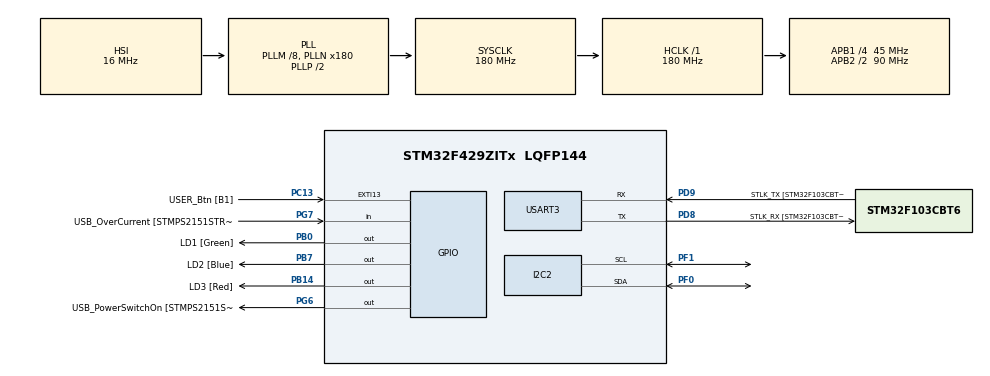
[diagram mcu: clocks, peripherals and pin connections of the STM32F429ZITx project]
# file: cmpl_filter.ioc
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FREERTOS.INCLUDE_pcTaskGetTaskName=1
FREERTOS.INCLUDE_uxTaskGetStackHighWaterMark=1
FREERTOS.INCLUDE_uxTaskGetStackHighWaterMark2=1
FREERTOS.INCLUDE_vTaskDelayUntil=1
FREERTOS.INCLUDE_vTaskDelete=0
FREERTOS.INCLUDE_xEventGroupSetBitFromISR=1
FREERTOS.INCLUDE_xQueueGetMutexHolder=0
FREERTOS.INCLUDE_xTaskGetCurrentTaskHandle=1
FREERTOS.INCLUDE_xTimerPendFunctionCall=1
FREERTOS.MEMORY_ALLOCATION=1
FREERTOS.Tasks01=defaultTask,0,128,StartDefaultTask,Default,NULL,Static,defaultTaskBuffer,defaultTaskControlBlock
FREERTOS.configENABLE_FPU=1
FREERTOS.configGENERATE_RUN_TIME_STATS=1
FREERTOS.configMAX_PRIORITIES=10
FREERTOS.configQUEUE_REGISTRY_SIZE=16
FREERTOS.configRECORD_STACK_HIGH_ADDRESS=1
FREERTOS.configUSE_APPLICATION_TASK_TAG=1
FREERTOS.configUSE_COUNTING_SEMAPHORES=1
FREERTOS.configUSE_NEWLIB_REENTRANT=1
FREERTOS.configUSE_TIMERS=1
FREERTOS.configUSE_TRACE_FACILITY=1
FREERTOS.copyHeapFile=1
Mcu.Family=STM32F4
Mcu.Name=STM32F429ZITx
Mcu.Package=LQFP144
NVIC.I2C2_ER_IRQn=true\:5\:0\:false\:false\:true\:true\:true\:true\:true
NVIC.I2C2_EV_IRQn=true\:5\:0\:false\:false\:true\:true\:true\:true\:true
NVIC.PriorityGroup=NVIC_PRIORITYGROUP_4
NVIC.TIM6_DAC_IRQn=true\:15\:0\:false\:false\:true\:false\:false\:true\:true
NVIC.TimeBase=TIM6_DAC_IRQn
NVIC.TimeBaseIP=TIM6
PA1.GPIO_Label=RMII_REF_CLK [LAN8742A-CZ-TR_REFCLK0]
PA1.Signal=ETH_REF_CLK
PA10.GPIO_Label=USB_ID
PA10.Signal=USB_OTG_FS_ID
PA11.GPIO_Label=USB_DM
PA11.Signal=USB_OTG_FS_DM
PA12.GPIO_Label=USB_DP
PA12.Signal=USB_OTG_FS_DP
PA13.GPIO_Label=TMS
PA13.Signal=SYS_JTMS-SWDIO
PA14.GPIO_Label=TCK
PA14.Signal=SYS_JTCK-SWCLK
PA2.GPIO_Label=RMII_MDIO [LAN8742A-CZ-TR_MDIO]
PA2.Signal=ETH_MDIO
PA7.GPIO_Label=RMII_CRS_DV [LAN8742A-CZ-TR_CRS_DV]
PA7.Signal=ETH_CRS_DV
PA8.GPIO_Label=USB_SOF [TP1]
PA8.Signal=USB_OTG_FS_SOF
PA9.GPIO_Label=USB_VBUS
PA9.Signal=USB_OTG_FS_VBUS
PB0.GPIO_Label=LD1 [Green]
PB0.Signal=GPIO_Output
PB13.GPIO_Label=RMII_TXD1 [LAN8742A-CZ-TR_TXD1]
PB13.Signal=ETH_TXD1
PB14.GPIO_Label=LD3 [Red]
PB14.Signal=GPIO_Output
PB7.GPIO_Label=LD2 [Blue]
PB7.Signal=GPIO_Output
PC1.GPIO_Label=RMII_MDC [LAN8742A-CZ-TR_MDC]
PC1.Signal=ETH_MDC
PC13.GPIO_Label=USER_Btn [B1]
PC13.Signal=GPXTI13
PC14/OSC32_IN.Signal=RCC_OSC32_IN
PC15/OSC32_OUT.Signal=RCC_OSC32_OUT
PC4.GPIO_Label=RMII_RXD0 [LAN8742A-CZ-TR_RXD0]
PC4.Signal=ETH_RXD0
PC5.GPIO_Label=RMII_RXD1 [LAN8742A-CZ-TR_RXD1]
PC5.Signal=ETH_RXD1
PD8.GPIO_Label=STLK_RX [STM32F103CBT6_PA3]
PD8.Mode=Asynchronous
PD8.Signal=USART3_TX
PD9.GPIO_Label=STLK_TX [STM32F103CBT6_PA2]
PD9.Mode=Asynchronous
PD9.Signal=USART3_RX
PF0.Mode=I2C
PF0.Signal=I2C2_SDA
PF1.Mode=I2C
PF1.Signal=I2C2_SCL
PG11.GPIO_Label=RMII_TX_EN [LAN8742A-CZ-TR_TXEN]
PG11.Signal=ETH_TX_EN
PG13.GPIO_Label=RMII_TXD0 [LAN8742A-CZ-TR_TXD0]
PG13.Signal=ETH_TXD0
PG6.GPIO_Label=USB_PowerSwitchOn [STMPS2151STR_EN]
PG6.Signal=GPIO_Output
PG7.GPIO_Label=USB_OverCurrent [STMPS2151STR_FAULT]
PG7.Signal=GPIO_Input
PH0/OSC_IN.GPIO_Label=MCO [STM32F103CBT6_PA8]
PH0/OSC_IN.Signal=RCC_OSC_IN
PH1/OSC_OUT.Signal=RCC_OSC_OUT
ProjectManager.HeapSize=0x200
ProjectManager.StackSize=0x400
ProjectManager.TargetToolchain=STM32CubeIDE
RCC.48MHZClocksFreq_Value=90000000
RCC.AHBFreq_Value=180000000
RCC.APB1CLKDivider=RCC_HCLK_DIV4
RCC.APB1Freq_Value=45000000
RCC.APB1TimFreq_Value=90000000
RCC.APB2CLKDivider=RCC_HCLK_DIV2
RCC.APB2Freq_Value=90000000
RCC.APB2TimFreq_Value=180000000
RCC.CortexFreq_Value=180000000
RCC.HCLKFreq_Value=180000000
RCC.HSE_VALUE=8000000
RCC.HSI_VALUE=16000000
RCC.LSE_VALUE=32768
RCC.PLLM=8
RCC.PLLMUL=RCC_PLL_MUL9
RCC.PLLN=180
RCC.PRESCALERUSB=RCC_USBCLKSOURCE_PLL_DIV1_5
RCC.SYSCLKFreq_VALUE=180000000
RCC.SYSCLKSource=RCC_SYSCLKSOURCE_PLLCLK
RCC.SYSCLKSourceVirtual=RCC_SYSCLKSOURCE_PLLCLK
RCC.USBFreq_Value=48000000
RCC.VCOOutputFreq_Value=360000000
USART3.VirtualMode=VM_ASYNC
VP_FREERTOS_VS_CMSIS_V1.Mode=CMSIS_V1
VP_SYS_VS_tim6.Mode=TIM6
board=NUCLEO-F429ZI

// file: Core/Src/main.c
/* USER CODE BEGIN Header */
/**
  ******************************************************************************
  * @file           : main.c
  * @brief          : Main program body
  ******************************************************************************
  * @attention
  *
  * Copyright (c) 2024 STMicroelectronics.
  * All rights reserved.
  *
  * This software is licensed under terms that can be found in the LICENSE file
  * in the root directory of this software component.
  * If no LICENSE file comes with this software, it is provided AS-IS.
  *
  ******************************************************************************
  */
/* USER CODE END Header */
#include "main.h"
#include "cmsis_os.h"
#include "i2c.h"
#include "usart.h"
#include "gpio.h"

/* USER CODE BEGIN Includes */
#include <string.h>
#include <stdint.h>
#include <math.h>

#include "app.h"
#include <printf/printf.h>
/* USER CODE END Includes */

void SystemClock_Config(void);
void MX_FREERTOS_Init(void);

/* USER CODE BEGIN 0 */

// This allows us to use printf() to send messages via the SWD interface
// Reference:
// http://www.embedded-communication.com/en/misc/english-printf-using-st-link-debug-interface-swd-itm-view/
int __io_putchar(int ch) {
    // Catch usage of stdlib printf() in debugger
    Error_Handler();
    //ITM_SendChar(ch);
    return ch;
}

// Needed for the tiny printf() by Marco Paland
// See: printf-6.0.0/src/printf.h
void putchar_(char c)
{
    ITM_SendChar(c);
}

#if 1
// To help ensure that no dynamic memory allocation occurs in this
// application, define dummy implementations of malloc() and free().
// If another definition of these functions somehow appears somewhere,
// the linker should complain.
// These functions also halt the system when called, to assist in
// debugging and finding the point where they were called.
void *malloc(size_t size)
{
	(void)size;
    Error_Handler();
    return NULL;
}

void free(void *ptr)
{
	(void)ptr;
    Error_Handler();
}

void *_sbrk(ptrdiff_t incr)
{
	(void)incr;
    Error_Handler();
    return NULL;
}
#endif

/* USER CODE END 0 */

int main(void)
{

  /* MCU Configuration--------------------------------------------------------*/

  /* Reset of all peripherals, Initializes the Flash interface and the Systick. */
  HAL_Init();

  /* Configure the system clock */
  SystemClock_Config();

  /* Initialize all configured peripherals */
  MX_GPIO_Init();
  MX_I2C2_Init();
  MX_USART3_UART_Init();
  /* USER CODE BEGIN 2 */

  App_Start();	 // Create the FreeRTOS objects
  printf_("Calling FreeRTOS scheduler\n");

  /* USER CODE END 2 */

  /* Call init function for freertos objects (in freertos.c) */
  MX_FREERTOS_Init();

  /* Start scheduler */
  osKernelStart();
  /* We should never get here as control is now taken by the scheduler */
  /* Infinite loop */
  while (1)
  {

  }
}

void SystemClock_Config(void)
{
  RCC_OscInitTypeDef RCC_OscInitStruct = {0};
  RCC_ClkInitTypeDef RCC_ClkInitStruct = {0};

  /** Configure the main internal regulator output voltage
  */
  __HAL_RCC_PWR_CLK_ENABLE();
  __HAL_PWR_VOLTAGESCALING_CONFIG(PWR_REGULATOR_VOLTAGE_SCALE1);

  /** Initializes the RCC Oscillators according to the specified parameters
  * in the RCC_OscInitTypeDef structure.
  */
  RCC_OscInitStruct.OscillatorType = RCC_OSCILLATORTYPE_HSI;
  RCC_OscInitStruct.HSIState = RCC_HSI_ON;
  RCC_OscInitStruct.HSICalibrationValue = RCC_HSICALIBRATION_DEFAULT;
  RCC_OscInitStruct.PLL.PLLState = RCC_PLL_ON;
  RCC_OscInitStruct.PLL.PLLSource = RCC_PLLSOURCE_HSI;
  RCC_OscInitStruct.PLL.PLLM = 8;
  RCC_OscInitStruct.PLL.PLLN = 180;
  RCC_OscInitStruct.PLL.PLLP = RCC_PLLP_DIV2;
  RCC_OscInitStruct.PLL.PLLQ = 4;
  if (HAL_RCC_OscConfig(&RCC_OscInitStruct) != HAL_OK)
  {
    Error_Handler();
  }

  /** Activate the Over-Drive mode
  */
  if (HAL_PWREx_EnableOverDrive() != HAL_OK)
  {
    Error_Handler();
  }

  /** Initializes the CPU, AHB and APB buses clocks
  */
  RCC_ClkInitStruct.ClockType = RCC_CLOCKTYPE_HCLK|RCC_CLOCKTYPE_SYSCLK
                              |RCC_CLOCKTYPE_PCLK1|RCC_CLOCKTYPE_PCLK2;
  RCC_ClkInitStruct.SYSCLKSource = RCC_SYSCLKSOURCE_PLLCLK;
  RCC_ClkInitStruct.AHBCLKDivider = RCC_SYSCLK_DIV1;
  RCC_ClkInitStruct.APB1CLKDivider = RCC_HCLK_DIV4;
  RCC_ClkInitStruct.APB2CLKDivider = RCC_HCLK_DIV2;

  if (HAL_RCC_ClockConfig(&RCC_ClkInitStruct, FLASH_LATENCY_5) != HAL_OK)
  {
    Error_Handler();
  }
}

void HAL_TIM_PeriodElapsedCallback(TIM_HandleTypeDef *htim)
{
  if (htim->Instance == TIM6) {
    HAL_IncTick();
  }
}

void Error_Handler(void)
{
  __disable_irq();
  while (1)
  {
  }
}

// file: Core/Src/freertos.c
/* USER CODE BEGIN Header */
/**
  ******************************************************************************
  * File Name          : freertos.c
  * Description        : Code for freertos applications
  ******************************************************************************
  * @attention
  *
  * Copyright (c) 2024 STMicroelectronics.
  * All rights reserved.
  *
  * This software is licensed under terms that can be found in the LICENSE file
  * in the root directory of this software component.
  * If no LICENSE file comes with this software, it is provided AS-IS.
  *
  ******************************************************************************
  */
/* USER CODE END Header */

#include "FreeRTOS.h"
#include "task.h"
#include "main.h"
#include "cmsis_os.h"

osThreadId defaultTaskHandle;
uint32_t defaultTaskBuffer[ 128 ];
osStaticThreadDef_t defaultTaskControlBlock;

void StartDefaultTask(void const * argument);

void MX_FREERTOS_Init(void); /* (MISRA C 2004 rule 8.1) */

/* GetIdleTaskMemory prototype (linked to static allocation support) */
void vApplicationGetIdleTaskMemory( StaticTask_t **ppxIdleTaskTCBBuffer, StackType_t **ppxIdleTaskStackBuffer, uint32_t *pulIdleTaskStackSize );

/* GetTimerTaskMemory prototype (linked to static allocation support) */
void vApplicationGetTimerTaskMemory( StaticTask_t **ppxTimerTaskTCBBuffer, StackType_t **ppxTimerTaskStackBuffer, uint32_t *pulTimerTaskStackSize );

/* Hook prototypes */
void configureTimerForRunTimeStats(void);
unsigned long getRunTimeCounterValue(void);

/* USER CODE BEGIN 1 */
/* Functions needed when configGENERATE_RUN_TIME_STATS is on */
__weak void configureTimerForRunTimeStats(void)
{

}

__weak unsigned long getRunTimeCounterValue(void)
{
return 0;
}
/* USER CODE END 1 */

/* USER CODE BEGIN GET_IDLE_TASK_MEMORY */
static StaticTask_t xIdleTaskTCBBuffer;
static StackType_t xIdleStack[configMINIMAL_STACK_SIZE];

void vApplicationGetIdleTaskMemory( StaticTask_t **ppxIdleTaskTCBBuffer, StackType_t **ppxIdleTaskStackBuffer, uint32_t *pulIdleTaskStackSize )
{
  *ppxIdleTaskTCBBuffer = &xIdleTaskTCBBuffer;
  *ppxIdleTaskStackBuffer = &xIdleStack[0];
  *pulIdleTaskStackSize = configMINIMAL_STACK_SIZE;
  /* place for user code */
}
/* USER CODE END GET_IDLE_TASK_MEMORY */

/* USER CODE BEGIN GET_TIMER_TASK_MEMORY */
static StaticTask_t xTimerTaskTCBBuffer;
static StackType_t xTimerStack[configTIMER_TASK_STACK_DEPTH];

void vApplicationGetTimerTaskMemory( StaticTask_t **ppxTimerTaskTCBBuffer, StackType_t **ppxTimerTaskStackBuffer, uint32_t *pulTimerTaskStackSize )
{
  *ppxTimerTaskTCBBuffer = &xTimerTaskTCBBuffer;
  *ppxTimerTaskStackBuffer = &xTimerStack[0];
  *pulTimerTaskStackSize = configTIMER_TASK_STACK_DEPTH;
  /* place for user code */
}
/* USER CODE END GET_TIMER_TASK_MEMORY */

void MX_FREERTOS_Init(void) {

  /* Create the thread(s) */
  /* definition and creation of defaultTask */
  osThreadStaticDef(defaultTask, StartDefaultTask, osPriorityNormal, 0, 128, defaultTaskBuffer, &defaultTaskControlBlock);
  defaultTaskHandle = osThreadCreate(osThread(defaultTask), NULL);

}

void StartDefaultTask(void const * argument)
{
  for(;;)
  {
    osDelay(1);
  }
}
